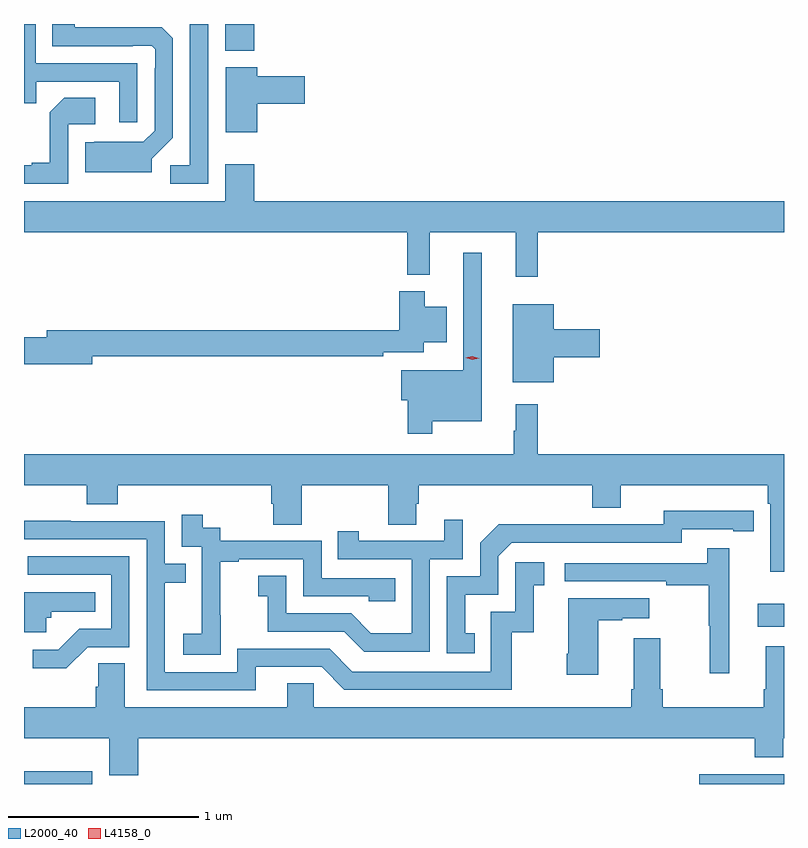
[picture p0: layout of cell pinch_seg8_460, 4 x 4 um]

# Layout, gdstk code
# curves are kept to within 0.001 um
import gdstk
lib = gdstk.Library(unit=1e-6, precision=1e-09)
def R(c, l, rs):  # rectangles x0, y0, x1, y1
    for r in rs: c.add(gdstk.rectangle(r[:2], r[2:], *l))
def P(c, l, *ps):  # polygons
    for p in ps: c.add(gdstk.Polygon(p, *l))
L2000_40 = (2000, 40)
L4158_0 = (4158, 0)

pinch_seg8_460 = lib.new_cell('pinch_seg8_460')
R(pinch_seg8_460, L2000_40, [(118.524,1130.912,118.882,1130.98), (122.079,1130.912,122.524,1130.964), (122.385,1131.74,122.524,1131.862), (119.582,1134.77,119.735,1134.912)])
P(pinch_seg8_460, L2000_40, [(119.121,1134.705),(118.587,1134.705),(118.587,1134.912),(118.524,1134.912),(118.524,1134.496),(118.589,1134.496),(118.589,1134.609),(119.025,1134.609),(119.025,1134.396),(119.121,1134.396)],
  [(119.493,1134.912),(119.397,1134.912),(119.397,1134.168),(119.295,1134.168),(119.295,1134.072),(119.493,1134.072)],
  [(119.197,1134.204),(119.307,1134.314),(119.307,1134.836),(119.248,1134.895),(118.791,1134.896),(118.791,1134.912),(118.672,1134.912),(118.672,1134.795),(119.096,1134.795),(119.096,1134.798),(119.196,1134.798),(119.214,1134.78),(119.214,1134.68),(119.211,1134.68),(119.211,1134.351),(119.151,1134.291),(118.894,1134.292),(118.891,1134.289),(118.847,1134.289),(118.847,1134.131),(119.197,1134.131)],
  [(119.752,1134.491),(120.001,1134.491),(120.001,1134.638),(119.752,1134.638),(119.752,1134.685),(119.585,1134.685),(119.585,1134.342),(119.752,1134.342)],
  [(118.758,1134.384),(118.9,1134.384),(118.9,1134.524),(118.735,1134.524),(118.659,1134.448),(118.659,1134.181),(118.565,1134.181),(118.565,1134.168),(118.524,1134.168),(118.524,1134.072),(118.758,1134.072)],
  [(121.229,1133.816),(122.524,1133.816),(122.524,1133.98),(119.735,1133.98),(119.735,1134.175),(119.582,1134.175),(119.582,1133.98),(118.524,1133.98),(118.524,1133.816),(120.541,1133.816),(120.541,1133.591),(120.659,1133.591),(120.659,1133.816),(121.112,1133.816),(121.112,1133.583),(121.229,1133.583)],
  [(120.673,1132.82),(120.934,1132.82),(120.934,1133.707),(120.837,1133.707),(120.837,1133.089),(120.51,1133.089),(120.51,1132.931),(120.544,1132.931),(120.544,1132.755),(120.673,1132.755)],
  [(118.882,1133.164),(120.416,1133.164),(120.416,1133.184),(120.628,1133.184),(120.628,1133.237),(120.748,1133.237),(120.748,1133.425),(120.634,1133.425),(120.634,1133.506),(120.5,1133.506),(120.5,1133.3),(118.643,1133.3),(118.643,1133.264),(118.524,1133.264),(118.524,1133.122),(118.882,1133.122)],
  [(121.312,1133.159),(121.555,1133.159),(121.555,1133.306),(121.312,1133.306),(121.312,1133.437),(121.097,1133.437),(121.097,1133.027),(121.312,1133.027)],
  [(122.524,1132.648),(121.229,1132.648),(121.229,1132.912),(121.112,1132.912),(121.112,1132.772),(121.101,1132.772),(121.101,1132.648),(118.524,1132.648),(118.524,1132.484),(118.853,1132.484),(118.853,1132.385),(119.018,1132.385),(119.018,1132.484),(119.825,1132.484),(119.825,1132.386),(119.837,1132.386),(119.837,1132.276),(119.985,1132.276),(119.985,1132.484),(120.442,1132.484),(120.442,1132.276),(120.589,1132.276),(120.589,1132.386),(120.602,1132.386),(120.602,1132.484),(121.514,1132.484),(121.514,1132.367),(121.666,1132.367),(121.666,1132.484),(122.438,1132.484),(122.438,1132.388),(122.451,1132.388),(122.451,1132.029),(122.524,1132.029)],
  [(120.896,1131.705),(120.847,1131.705),(120.847,1131.909),(121.02,1131.909),(121.02,1132.11),(121.092,1132.182),(121.986,1132.182),(121.986,1132.254),(122.258,1132.254),(122.258,1132.242),(122.366,1132.242),(122.366,1132.35),(121.89,1132.351),(121.89,1132.278),(121.43,1132.278),(121.43,1132.28),(121.022,1132.28),(120.924,1132.182),(120.924,1132.005),(120.75,1132.005),(120.75,1131.6),(120.896,1131.6)],
  [(119.559,1131.799),(119.558,1131.799),(119.558,1132.083),(119.653,1132.083),(119.653,1132.095),(119.994,1132.095),(119.994,1131.9),(120.339,1131.9),(120.339,1131.873),(120.479,1131.873),(120.479,1131.996),(120.09,1131.996),(120.09,1132.191),(119.556,1132.191),(119.556,1132.26),(119.464,1132.26),(119.464,1132.33),(119.355,1132.33),(119.355,1132.161),(119.46,1132.161),(119.46,1131.932),(119.459,1131.932),(119.459,1131.703),(119.361,1131.703),(119.361,1131.593),(119.559,1131.593)],
  [(120.66,1132.095),(120.834,1132.095),(120.834,1132.303),(120.737,1132.303),(120.737,1132.191),(120.286,1132.191),(120.286,1132.243),(120.175,1132.243),(120.175,1132.095),(120.564,1132.095),(120.564,1131.706),(120.35,1131.706),(120.246,1131.81),(119.904,1131.81),(119.904,1132.009),(119.757,1132.009),(119.757,1131.899),(119.806,1131.899),(119.806,1131.714),(120.209,1131.714),(120.314,1131.609),(120.66,1131.609)],
  [(119.743,1131.528),(120.09,1131.528),(120.21,1131.408),(121.09,1131.408),(121.09,1131.711),(121.208,1131.711),(121.208,1131.957),(121.261,1131.957),(121.261,1132.078),(121.11,1132.078),(121.11,1131.819),(120.981,1131.819),(120.981,1131.504),(120.252,1131.504),(120.132,1131.624),(119.646,1131.624),(119.646,1131.501),(119.265,1131.501),(119.265,1131.97),(119.375,1131.97),(119.375,1132.071),(119.265,1132.071),(119.265,1132.296),(118.769,1132.296),(118.769,1132.298),(118.524,1132.298),(118.524,1132.2),(119.169,1132.2),(119.169,1131.405),(119.743,1131.405)],
  [(122.236,1132.153),(122.119,1132.153),(122.119,1132.074),(121.371,1132.074),(121.371,1131.978),(121.903,1131.978),(121.903,1131.958),(122.127,1131.958),(122.127,1131.744),(122.134,1131.744),(122.134,1131.495),(122.236,1131.495)],
  [(118.86,1131.633),(119.079,1131.633),(119.079,1132.11),(118.545,1132.11),(118.545,1132.014),(118.983,1132.014),(118.983,1131.729),(118.814,1131.729),(118.703,1131.618),(118.569,1131.618),(118.569,1131.521),(118.747,1131.521)],
  [(118.641,1131.786),(118.668,1131.786),(118.668,1131.818),(118.898,1131.818),(118.898,1131.922),(118.524,1131.922),(118.524,1131.71),(118.641,1131.71)],
  [(121.546,1131.775),(121.673,1131.775),(121.673,1131.785),(121.816,1131.785),(121.816,1131.889),(121.388,1131.889),(121.388,1131.598),(121.381,1131.598),(121.381,1131.486),(121.546,1131.486)],
  [(119.126,1131.152),(122.369,1131.152),(122.369,1131.053),(122.521,1131.053),(122.521,1131.152),(122.524,1131.152),(122.524,1131.637),(122.429,1131.637),(122.429,1131.412),(122.417,1131.412),(122.417,1131.316),(121.886,1131.316),(121.886,1131.412),(121.873,1131.412),(121.873,1131.679),(121.733,1131.679),(121.733,1131.412),(121.721,1131.412),(121.721,1131.316),(120.048,1131.316),(120.048,1131.443),(119.909,1131.443),(119.909,1131.316),(119.053,1131.316),(119.053,1131.548),(118.914,1131.548),(118.914,1131.425),(118.901,1131.425),(118.901,1131.316),(118.524,1131.316),(118.524,1131.152),(118.973,1131.152),(118.973,1130.958),(119.126,1130.958)])
P(pinch_seg8_460, L4158_0, [(120.883,1133.144),(120.848,1133.156),(120.848,1133.156),(120.848,1133.156),(120.884,1133.164),(120.918,1133.152),(120.919,1133.152),(120.918,1133.152)])

lib.write_gds('pinch_seg8_460.gds')
